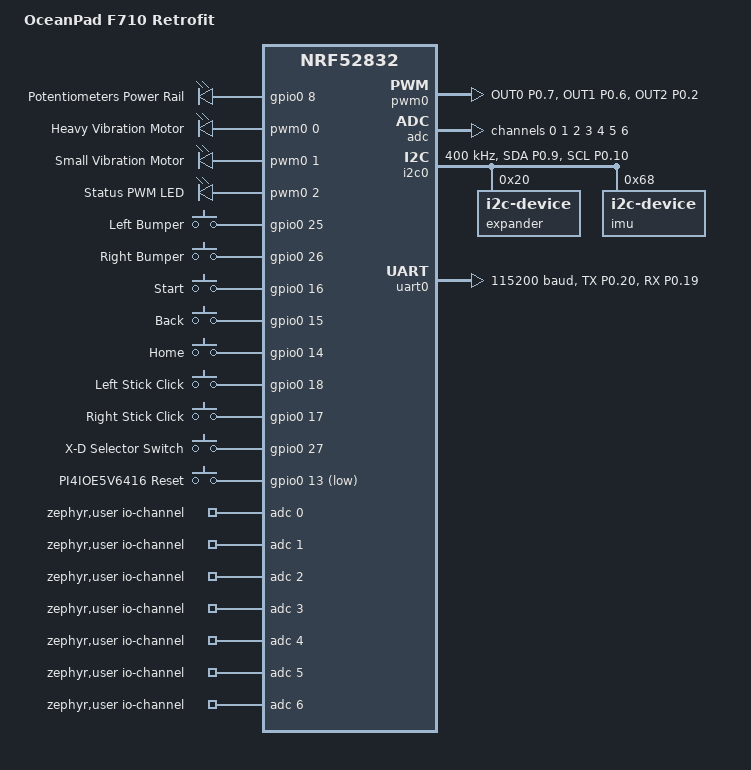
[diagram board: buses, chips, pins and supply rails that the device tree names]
/dts-v1/;
#include <nordic/nrf52832_qfaa.dtsi>

/ {
    model = "OceanPad F710 Retrofit";
    compatible = "oceanpad";

    chosen {
        zephyr,sram = &sram0;
        zephyr,flash = &flash0;
        zephyr,code-partition = &slot0_partition;
        zephyr,console = &uart0;
        zephyr,shell-uart = &uart0;
        zephyr,settings-partition = &storage_partition;
    };

    /* Digital outputs (GPIO only) */
    leds {
        compatible = "gpio-leds";
        axes_pwr: axes_pwr_en {
            gpios = <&gpio0 8 GPIO_ACTIVE_HIGH>;
            label = "Potentiometers Power Rail";
        };
    };

    /* PWM Outputs: Vibration Motors & Status LED */
    pwmleds {
        compatible = "pwm-leds";
        motor_big: motor_0 {
            pwms = <&pwm0 0 PWM_USEC(50) PWM_POLARITY_NORMAL>;
            label = "Heavy Vibration Motor";
        };
        motor_small: motor_1 {
            pwms = <&pwm0 1 PWM_USEC(50) PWM_POLARITY_NORMAL>;
            label = "Small Vibration Motor";
        };
        status_pwm_led: led_pwm_0 {
            pwms = <&pwm0 2 PWM_USEC(50) PWM_POLARITY_NORMAL>;
            label = "Status PWM LED";
        };
    };

    /* MCU wired buttons */
    native_buttons {
        compatible = "gpio-keys";
        btn_lb: lb { gpios = <&gpio0 25 (GPIO_PULL_DOWN | GPIO_ACTIVE_HIGH)>; label = "Left Bumper"; };
        btn_rb: rb { gpios = <&gpio0 26 (GPIO_PULL_DOWN | GPIO_ACTIVE_HIGH)>; label = "Right Bumper"; };
        btn_start: start { gpios = <&gpio0 16 (GPIO_PULL_DOWN | GPIO_ACTIVE_HIGH)>; label = "Start"; };
        btn_back: back { gpios = <&gpio0 15 (GPIO_PULL_DOWN | GPIO_ACTIVE_HIGH)>; label = "Back"; };
        btn_home: home { gpios = <&gpio0 14 (GPIO_PULL_DOWN | GPIO_ACTIVE_HIGH)>; label = "Home"; };
        btn_ls: ls { gpios = <&gpio0 18 (GPIO_PULL_DOWN | GPIO_ACTIVE_HIGH)>; label = "Left Stick Click"; };
        btn_rs: rs { gpios = <&gpio0 17 (GPIO_PULL_DOWN | GPIO_ACTIVE_HIGH)>; label = "Right Stick Click"; };

        /* Mode switch selector X/D */
        mode_switch: sw {
            gpios = <&gpio0 27 (GPIO_PULL_UP | GPIO_ACTIVE_HIGH)>;
            label = "X-D Selector Switch";
        };
        expander_reset: exp_reset {
            gpios = <&gpio0 13 GPIO_ACTIVE_LOW>;
            label = "PI4IOE5V6416 Reset";
        };
    };

    /* ADC channels mapping */
    zephyr,user {
        io-channels =
            <&adc 0>, /* P0.29 - LSX (AIN5) */
            <&adc 1>, /* P0.28 - LSY (AIN4) */
            <&adc 2>, /* P0.31 - RSX (AIN7) */
            <&adc 3>, /* P0.30 - RSY (AIN6) */
            <&adc 4>, /* P0.03 - LT  (AIN1) */
            <&adc 5>, /* P0.04 - RT  (AIN2) */
            <&adc 6>; /* P0.05 - Battery (AIN3) */
    };
};

/* Hardware Overrides & Peripheral Configuration */

&pinctrl {
    uart0_default: uart0_default {
        group1 {
            psels = <NRF_PSEL(UART_TX, 0, 20)>,
                    <NRF_PSEL(UART_RX, 0, 19)>;
        };
    };

    uart0_sleep: uart0_sleep {
        group1 {
            psels = <NRF_PSEL(UART_TX, 0, 20)>,
                    <NRF_PSEL(UART_RX, 0, 19)>;
            low-power-enable;
        };
    };

    i2c0_default: i2c0_default {
        group1 {
            psels = <NRF_PSEL(TWIM_SDA, 0, 9)>,
                    <NRF_PSEL(TWIM_SCL, 0, 10)>;
        };
    };

    i2c0_sleep: i2c0_sleep {
        group1 {
            psels = <NRF_PSEL(TWIM_SDA, 0, 9)>,
                    <NRF_PSEL(TWIM_SCL, 0, 10)>;
            low-power-enable;
        };
    };

    pwm0_default: pwm0_default {
        group1 {
            psels = <NRF_PSEL(PWM_OUT0, 0, 7)>,  /* Heavy Motor */
                    <NRF_PSEL(PWM_OUT1, 0, 6)>,  /* Small Motor */
                    <NRF_PSEL(PWM_OUT2, 0, 2)>;  /* Status LED */
            nordic,drive-mode = <NRF_DRIVE_H0H1>;
        };
    };

    pwm0_sleep: pwm0_sleep {
        group1 {
            psels = <NRF_PSEL(PWM_OUT0, 0, 7)>,
                    <NRF_PSEL(PWM_OUT1, 0, 6)>,
                    <NRF_PSEL(PWM_OUT2, 0, 2)>;
            low-power-enable;
        };
    };
};

&reg {
    regulator-initial-mode = <NRF5X_REG_MODE_DCDC>;
};

&uicr {
    nfct-pins-as-gpios;
};

&gpio0 {
    status = "okay";
};

&gpiote {
    status = "okay";
};

&pwm0 {
    status = "okay";
    pinctrl-0 = <&pwm0_default>;
    pinctrl-1 = <&pwm0_sleep>;
    pinctrl-names = "default", "sleep";
};

&adc {
    status = "okay";
    #address-cells = <1>;
    #size-cells = <0>;

    channel@0 {
        reg = <0>;
        zephyr,gain = "ADC_GAIN_1_4";
        zephyr,reference = "ADC_REF_VDD_1_4";
        zephyr,acquisition-time = <ADC_ACQ_TIME_DEFAULT>;
        zephyr,input-positive = <NRF_SAADC_AIN5>;
        zephyr,resolution = <12>;
    };

    channel@1 {
        reg = <1>;
        zephyr,gain = "ADC_GAIN_1_4";
        zephyr,reference = "ADC_REF_VDD_1_4";
        zephyr,acquisition-time = <ADC_ACQ_TIME_DEFAULT>;
        zephyr,input-positive = <NRF_SAADC_AIN4>;
        zephyr,resolution = <12>;
    };

    channel@2 {
        reg = <2>;
        zephyr,gain = "ADC_GAIN_1_4";
        zephyr,reference = "ADC_REF_VDD_1_4";
        zephyr,acquisition-time = <ADC_ACQ_TIME_DEFAULT>;
        zephyr,input-positive = <NRF_SAADC_AIN7>;
        zephyr,resolution = <12>;
    };

    channel@3 {
        reg = <3>;
        zephyr,gain = "ADC_GAIN_1_4";
        zephyr,reference = "ADC_REF_VDD_1_4";
        zephyr,acquisition-time = <ADC_ACQ_TIME_DEFAULT>;
        zephyr,input-positive = <NRF_SAADC_AIN6>;
        zephyr,resolution = <12>;
    };

    channel@4 {
        reg = <4>;
        zephyr,gain = "ADC_GAIN_1_4";
        zephyr,reference = "ADC_REF_VDD_1_4";
        zephyr,acquisition-time = <ADC_ACQ_TIME_DEFAULT>;
        zephyr,input-positive = <NRF_SAADC_AIN1>;
        zephyr,resolution = <12>;
    };

    channel@5 {
        reg = <5>;
        zephyr,gain = "ADC_GAIN_1_4";
        zephyr,reference = "ADC_REF_VDD_1_4";
        zephyr,acquisition-time = <ADC_ACQ_TIME_DEFAULT>;
        zephyr,input-positive = <NRF_SAADC_AIN2>;
        zephyr,resolution = <12>;
    };

    channel@6 {
        reg = <6>;
        zephyr,gain = "ADC_GAIN_1_3";
        zephyr,reference = "ADC_REF_INTERNAL";
        zephyr,acquisition-time = <ADC_ACQ_TIME_DEFAULT>;
        zephyr,input-positive = <NRF_SAADC_AIN3>;
        zephyr,resolution = <12>;
    };
};

&i2c0 {
    compatible = "nordic,nrf-twim";
    status = "okay";
    pinctrl-0 = <&i2c0_default>;
    pinctrl-1 = <&i2c0_sleep>;
    pinctrl-names = "default", "sleep";
    clock-frequency = <I2C_BITRATE_FAST>;

    expander: pi4ioe5v6416@20 {
        compatible = "i2c-device";
        reg = <0x20>;
    };

    imu: icm42688@68 {
        compatible = "i2c-device";
        reg = <0x68>;
    };
};

&uart0 {
    compatible = "nordic,nrf-uarte";
    status = "okay";
    current-speed = <115200>;
    pinctrl-0 = <&uart0_default>;
    pinctrl-1 = <&uart0_sleep>;
    pinctrl-names = "default", "sleep";
};

&flash0 {
    partitions {
        compatible = "fixed-partitions";
        #address-cells = <1>;
        #size-cells = <1>;

        boot_partition: partition@0 { label = "mcuboot"; reg = <0x00000000 0xc000>; };
        slot0_partition: partition@c000 { label = "image-0"; reg = <0x0000c000 0x32000>; };
        slot1_partition: partition@3e000 { label = "image-1"; reg = <0x0003e000 0x32000>; };
        scratch_partition: partition@70000 { label = "image-scratch"; reg = <0x00070000 0xa000>; };
        storage_partition: partition@7a000 { label = "storage"; reg = <0x0007a000 0x00006000>; };
    };
};
